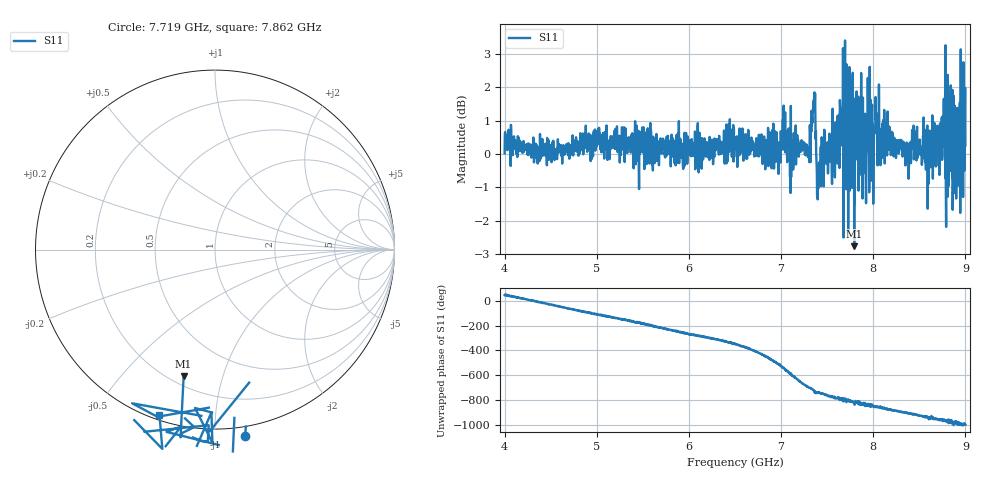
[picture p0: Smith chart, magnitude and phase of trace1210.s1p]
! Created with skrf 1.8.0 (http://scikit-rf.org).
# Hz S RI R 50.0
!freq ReS11 ImS11
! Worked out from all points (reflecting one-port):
!   1601 points, 4 GHz to 9 GHz, reference 50 ohm
!   lowest |S11| = -2.8 dB at 7.794 GHz (marker M1), VSWR 6.34, Z = 12.5 - j37.6 ohm
!   phase of S11 starts at 49 deg and turns -1050 deg over the sweep
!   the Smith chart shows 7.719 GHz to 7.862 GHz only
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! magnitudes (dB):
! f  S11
! 4 GHz  0.0
! 4.625 GHz  -0.3
! 5.25 GHz  -0.3
! 5.875 GHz  0.3
! 6.5 GHz  0.3
! 6.816 GHz  0.5
! 6.969 GHz  0.4
! 7.028 GHz  1.5
! 7.125 GHz  0.2
! 7.294 GHz  -0.1
! 7.347 GHz  1.3
! 7.412 GHz  -0.3
! 7.466 GHz  0.0
! 7.609 GHz  -0.3
! 7.65 GHz  0.9
! 7.703 GHz  -0.7
! 7.75 GHz  -0.5
! 7.794 GHz  -2.8
! 7.891 GHz  -0.1
! 7.909 GHz  0.6
! 7.953 GHz  2.1
! 8.038 GHz  0.7
! 8.375 GHz  0.2
! 8.697 GHz  0.8
! 8.759 GHz  0.9
! 8.812 GHz  0.4
! 8.972 GHz  0.8
! 9 GHz  0.3
